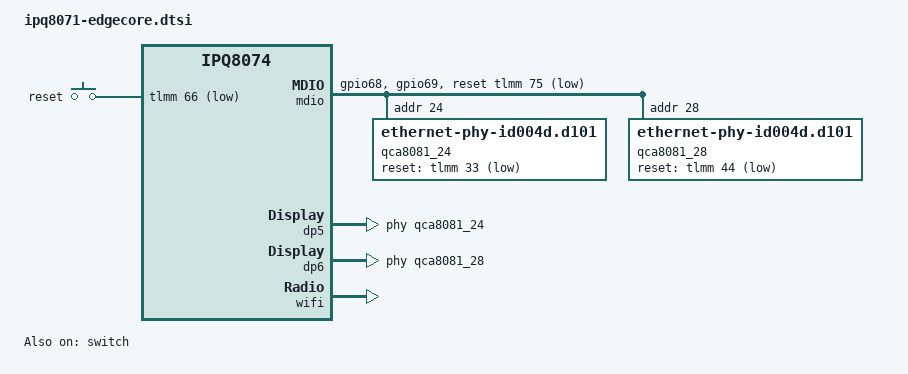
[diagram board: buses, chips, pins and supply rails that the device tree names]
// SPDX-License-Identifier: GPL-2.0-or-later OR MIT

#include "ipq8074.dtsi"
#include "ipq8074-ac-cpu.dtsi"
#include "ipq8074-common.dtsi"
#include "ipq8074-ess.dtsi"
#include "ipq8074-nss.dtsi"

#include <dt-bindings/gpio/gpio.h>
#include <dt-bindings/input/input.h>
#include <dt-bindings/leds/common.h>

/ {
	aliases {
		serial0 = &blsp1_uart5;
		serial1 = &blsp1_uart3;

		led-boot = &led_pw;
		led-failsafe = &led_pw;
		led-running = &led_pw;
		led-upgrade = &led_pw;

		ethernet0 = &dp6;
		ethernet1 = &dp5;

		label-mac-device = &dp5;
	};

	chosen {
		stdout-path = "serial0:115200n8";
		bootargs-append = " root=/dev/ubiblock0_1";
	};

	keys {
		compatible = "gpio-keys";

		reset {
			label = "reset";
			gpios = <&tlmm 66 GPIO_ACTIVE_LOW>;
			linux,code = <KEY_RESTART>;
		};
	};
};

&tlmm {
	mdio_pins: mdio-pins {
		mdc {
			pins = "gpio68";
			function = "mdc";
			drive-strength = <8>;
			bias-pull-up;
		};

		mdio {
			pins = "gpio69";
			function = "mdio";
			drive-strength = <8>;
			bias-pull-up;
		};
	};
};

&mdio {
	status = "okay";

	pinctrl-0 = <&mdio_pins>;
	pinctrl-names = "default";
	reset-gpios = <&tlmm 75 GPIO_ACTIVE_LOW>;

	qca8081_24: ethernet-phy@24 {
		compatible = "ethernet-phy-id004d.d101";
		reg = <24>;
		reset-deassert-us = <10000>;
		reset-gpios = <&tlmm 33 GPIO_ACTIVE_LOW>;
	};

	qca8081_28: ethernet-phy@28 {
		compatible = "ethernet-phy-id004d.d101";
		reg = <28>;
		reset-deassert-us = <10000>;
		reset-gpios = <&tlmm 44 GPIO_ACTIVE_LOW>;
	};
};

&switch {
	status = "okay";

	switch_lan_bmp = <ESS_PORT5>;
	switch_wan_bmp = <ESS_PORT6>;
	switch_mac_mode1 = <MAC_MODE_SGMII_PLUS>;
	switch_mac_mode2 = <MAC_MODE_SGMII_PLUS>;

	qcom,port_phyinfo {
		port@5 {
			port_id = <5>;
			phy_address = <24>;
			port_mac_sel = "QGMAC_PORT";
		};

		port@6 {
			port_id = <6>;
			phy_address = <28>;
			port_mac_sel = "QGMAC_PORT";
		};
	};
};

&dp5 {
	status = "okay";
	phy-handle = <&qca8081_24>;
	label = "lan";
};

&dp6 {
	status = "okay";
	phy-handle = <&qca8081_28>;
	label = "wan";
};

&wifi {
	status = "okay";
	qcom,ath11k-fw-memory-mode = <1>;
};

&edma {
	status = "okay";
};
